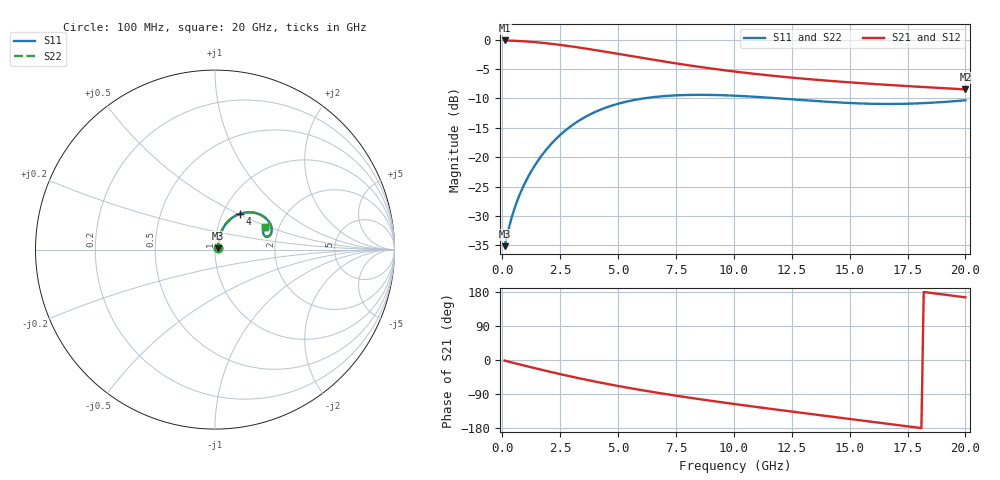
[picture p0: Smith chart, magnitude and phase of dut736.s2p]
! Touchstone file exported from HFSS 2024.1.0
!  File:  C:/UserFiles/LocalFiles/RDL_TSV_Batchsim/temp_RDL_TSV_736_1779894498.aedt
!  Generated:  11:26:54 PM May 27, 2026
!  Design:  RDL_TSV
!  Project:  temp_RDL_TSV_736_1779894498
!  Setup:  Setup1
!  Solution:  Sweep
! Variables:
!  dtsv = 5.19um
!  hbump = 3um
!  htsv = 58.54um
!  ldown = 278.51um
!  lrdl = 539.61um
!  p = 40
!  p1 = 53.67um
!  rhole = 10um
!  subl = 2993.97um
!  t = 450um
!  tdown = 4.13um
!  trdl = 2.84um
!  viad = 10um
!  wdown = 19.95um
!  wrdl = 25.16um
!  xbump = 18um
# GHz S MA R 50.000000
! Terminal data exported
! Port[1] = TM1_1_T1
! Port[2] = TM1_4_T1
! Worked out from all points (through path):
!   200 points, 100 MHz to 20 GHz, reference 50 ohm
!   highest |S21| = -0.14 dB at 100 MHz (marker M1); lowest = -8.5 dB at 20 GHz (marker M2)
!   group delay of S21, straight-line fit = 25.5 ps
!   lowest |S11| = -35.1 dB at 100 MHz (marker M3), VSWR 1.04, Z = 51.6 + j0.671 ohm
!   |S11| at or under -10 dB: start of sweep to 6.107 GHz; 11.95 GHz to end of sweep
!   |S22| runs from -35.1 to -9.4 dB; largest |S21 - S12| = 2.8e-14
!   S11 on the Smith chart (normalised r, x): 100 MHz: 1.03, +0.01; 4 GHz: 1.20, +0.51; 20 GHz: 1.68, +0.47
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0.1  0.01749 21.8  0.9836 -1.6  0.9836 -1.6  0.01749 21.8
! Gamma 0 0 0 0
! Port Impedance 50 0 50 0
0.4  0.03045 51.8  0.9795 -6.3  0.9795 -6.3  0.03045 51.8
0.6  0.04027 59.5  0.9757 -9.4  0.9757 -9.4  0.04027 59.5
0.9  0.05599 65.9  0.9687 -14.0  0.9687 -14.0  0.05599 65.9
1.3  0.07881 69.6  0.9562 -20.0  0.9562 -20.0  0.0788 69.6
1.8  0.1096 70.2  0.9362 -27.4  0.9362 -27.4  0.1096 70.2
2.3  0.1416 68.4  0.9123 -34.5  0.9123 -34.5  0.1416 68.4
2.9  0.1797 64.5  0.88 -42.7  0.88 -42.7  0.1797 64.5
3.5  0.2152 59.7  0.8453 -50.6  0.8453 -50.6  0.2152 59.7
4  0.2418 55.4  0.8156 -56.8  0.8156 -56.8  0.2418 55.4
4.6  0.2693 50.3  0.7799 -64.0  0.7799 -64.0  0.2693 50.3
5.3  0.2949 44.6  0.7394 -71.9  0.7394 -71.9  0.295 44.6
6  0.3139 39.2  0.7009 -79.4  0.7009 -79.4  0.314 39.3
6.8  0.3283 33.8  0.6603 -87.4  0.6603 -87.4  0.3284 33.8
8.4  0.339 24.9  0.5907 -102.3  0.5907 -102.3  0.3392 25.0
10.1  0.3329 18.5  0.5333 -116.8  0.5333 -116.8  0.3332 18.5
11.7  0.3188 15.0  0.4919 -129.7  0.4919 -129.7  0.3191 15.0
13.4  0.3017 13.9  0.458 -143.1  0.458 -143.1  0.302 13.9
15  0.2888 15.1  0.433 -155.6  0.433 -155.6  0.2892 15.1
16.7  0.2835 18.2  0.4113 -168.8  0.4113 -168.8  0.2839 18.2
18.3  0.2888 21.6  0.3938 178.7  0.3938 178.7  0.2891 21.6
20  0.3046 24.5  0.3772 165.4  0.3772 165.4  0.3049 24.4
